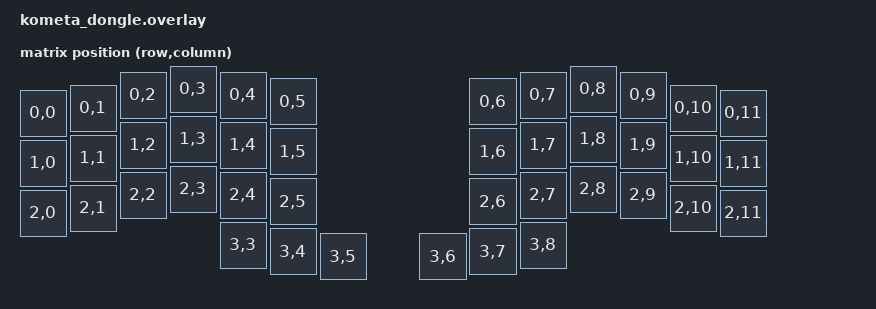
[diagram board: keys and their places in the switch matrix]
#include <dt-bindings/zmk/matrix_transform.h>
#include <physical_layouts.dtsi>

/ {
    chosen {
        zmk,kscan = &mock_kscan;
        zmk,physical-layout = &physical_layout0;
        zephyr,display = &oled;
    };

    mock_kscan: mock_kscan_0 {
        compatible = "zmk,kscan-mock";
        columns = <0>;
        rows = <0>;
        events = <0>;
    };

    default_transform: default_transform {
        compatible = "zmk,matrix-transform";
        columns = <12>;
        rows = <4>;

        map = <
            RC(0,0)  RC(0,1)  RC(0,2)  RC(0,3)  RC(0,4)  RC(0,5)    RC(0,6)  RC(0,7)  RC(0,8)  RC(0,9)  RC(0,10) RC(0,11)
            RC(1,0)  RC(1,1)  RC(1,2)  RC(1,3)  RC(1,4)  RC(1,5)    RC(1,6)  RC(1,7)  RC(1,8)  RC(1,9)  RC(1,10) RC(1,11)
            RC(2,0)  RC(2,1)  RC(2,2)  RC(2,3)  RC(2,4)  RC(2,5)    RC(2,6)  RC(2,7)  RC(2,8)  RC(2,9)  RC(2,10) RC(2,11)
                                       RC(3,3)  RC(3,4)  RC(3,5)    RC(3,6)  RC(3,7)  RC(3,8)
        >;
    };

    physical_layout0: physical_layout_0 {
        compatible = "zmk,physical-layout";
        display-name = "default_transform";

        transform = <&default_transform>;

        keys
            = <&key_physical_attrs 100 100    0   48       0     0     0>
            , <&key_physical_attrs 100 100  100   38       0     0     0>
            , <&key_physical_attrs 100 100  200   12       0     0     0>
            , <&key_physical_attrs 100 100  300    0       0     0     0>
            , <&key_physical_attrs 100 100  400   12       0     0     0>
            , <&key_physical_attrs 100 100  500   25       0     0     0>
            , <&key_physical_attrs 100 100  900   25       0     0     0>
            , <&key_physical_attrs 100 100 1000   12       0     0     0>
            , <&key_physical_attrs 100 100 1100    0       0     0     0>
            , <&key_physical_attrs 100 100 1200   12       0     0     0>
            , <&key_physical_attrs 100 100 1300   38       0     0     0>
            , <&key_physical_attrs 100 100 1400   48       0     0     0>
            , <&key_physical_attrs 100 100    0  148       0     0     0>
            , <&key_physical_attrs 100 100  100  138       0     0     0>
            , <&key_physical_attrs 100 100  200  112       0     0     0>
            , <&key_physical_attrs 100 100  300  100       0     0     0>
            , <&key_physical_attrs 100 100  400  112       0     0     0>
            , <&key_physical_attrs 100 100  500  125       0     0     0>
            , <&key_physical_attrs 100 100  900  125       0     0     0>
            , <&key_physical_attrs 100 100 1000  112       0     0     0>
            , <&key_physical_attrs 100 100 1100  100       0     0     0>
            , <&key_physical_attrs 100 100 1200  112       0     0     0>
            , <&key_physical_attrs 100 100 1300  138       0     0     0>
            , <&key_physical_attrs 100 100 1400  148       0     0     0>
            , <&key_physical_attrs 100 100    0  248       0     0     0>
            , <&key_physical_attrs 100 100  100  238       0     0     0>
            , <&key_physical_attrs 100 100  200  212       0     0     0>
            , <&key_physical_attrs 100 100  300  200       0     0     0>
            , <&key_physical_attrs 100 100  400  212       0     0     0>
            , <&key_physical_attrs 100 100  500  225       0     0     0>
            , <&key_physical_attrs 100 100  900  225       0     0     0>
            , <&key_physical_attrs 100 100 1000  212       0     0     0>
            , <&key_physical_attrs 100 100 1100  200       0     0     0>
            , <&key_physical_attrs 100 100 1200  212       0     0     0>
            , <&key_physical_attrs 100 100 1300  238       0     0     0>
            , <&key_physical_attrs 100 100 1400  248       0     0     0>
            , <&key_physical_attrs 100 100  400  312       0     0     0>
            , <&key_physical_attrs 100 100  500  325       0     0     0>
            , <&key_physical_attrs 100 100  600  335       0     0     0>
            , <&key_physical_attrs 100 100  800  335       0     0     0>
            , <&key_physical_attrs 100 100  900  325       0     0     0>
            , <&key_physical_attrs 100 100 1000  312       0     0     0>
            ;
    };
};

&i2c0 {
    status = "okay";

    oled: ssd1306@3c {
        compatible = "solomon,ssd1306fb";
        reg = <0x3c>;
        width = <128>;
        height = <64>;
    };
};
